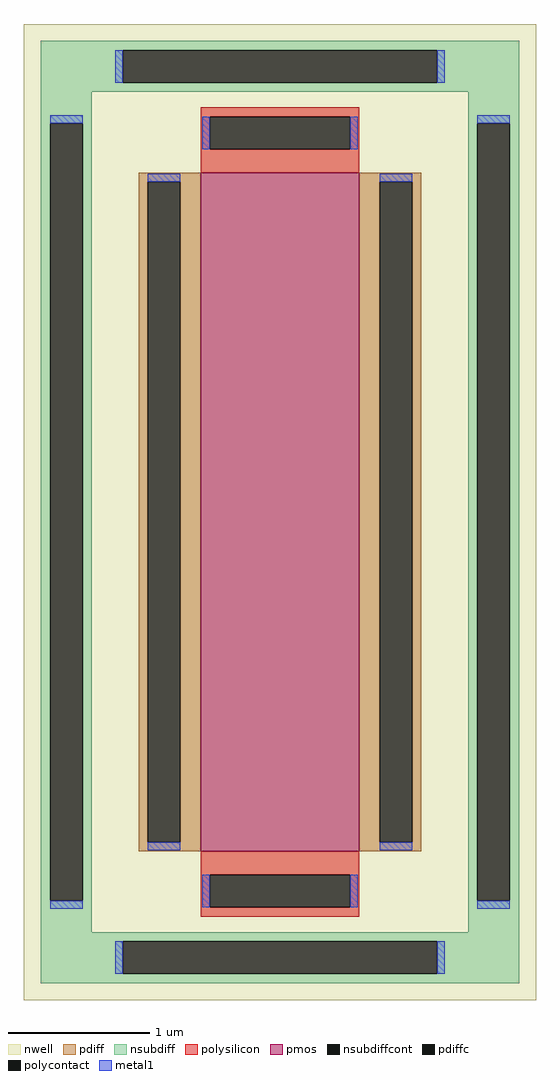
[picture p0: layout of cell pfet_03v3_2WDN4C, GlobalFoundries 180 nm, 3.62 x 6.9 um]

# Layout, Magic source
magic
tech gf180mcuD
magscale 1 10
<< nwell >>
rect -362 -690 362 690
<< pmos >>
rect -112 -480 112 480
<< pdiff >>
rect -200 467 -112 480
rect -200 -467 -187 467
rect -141 -467 -112 467
rect -200 -480 -112 -467
rect 112 467 200 480
rect 112 -467 141 467
rect 187 -467 200 467
rect 112 -480 200 -467
<< pdiffc >>
rect -187 -467 -141 467
rect 141 -467 187 467
<< nsubdiff >>
rect -338 653 338 666
rect -338 607 -222 653
rect 222 607 338 653
rect -338 594 338 607
rect -338 550 -266 594
rect -338 -550 -325 550
rect -279 -550 -266 550
rect 266 550 338 594
rect -338 -594 -266 -550
rect 266 -550 279 550
rect 325 -550 338 550
rect 266 -594 338 -550
rect -338 -607 338 -594
rect -338 -653 -222 -607
rect 222 -653 338 -607
rect -338 -666 338 -653
<< nsubdiffcont >>
rect -222 607 222 653
rect -325 -550 -279 550
rect 279 -550 325 550
rect -222 -653 222 -607
<< polysilicon >>
rect -112 559 112 572
rect -112 513 -99 559
rect 99 513 112 559
rect -112 480 112 513
rect -112 -513 112 -480
rect -112 -559 -99 -513
rect 99 -559 112 -513
rect -112 -572 112 -559
<< polycontact >>
rect -99 513 99 559
rect -99 -559 99 -513
<< metal1 >>
rect -233 607 -222 653
rect 222 607 233 653
rect -325 550 -279 561
rect -110 513 -99 559
rect 99 513 110 559
rect 279 550 325 561
rect -187 467 -141 478
rect -187 -478 -141 -467
rect 141 467 187 478
rect 141 -478 187 -467
rect -325 -561 -279 -550
rect -110 -559 -99 -513
rect 99 -559 110 -513
rect 279 -561 325 -550
rect -233 -653 -222 -607
rect 222 -653 233 -607
<< properties >>
string FIXED_BBOX -302 -630 302 630
string gencell pfet_03v3
string library gf180mcu
string parameters w 4.8 l 1.12 m 1 nf 1 diffcov 100 polycov 100 guard 1 glc 1 grc 1 gtc 1 gbc 1 tbcov 100 rlcov 100 topc 1 botc 1 poverlap 0 doverlap 1 lmin 0.28 wmin 0.22 class mosfet full_metal 0 compatible {pfet_03v3 pfet_05v0 pfet_06v0}
<< end >>
